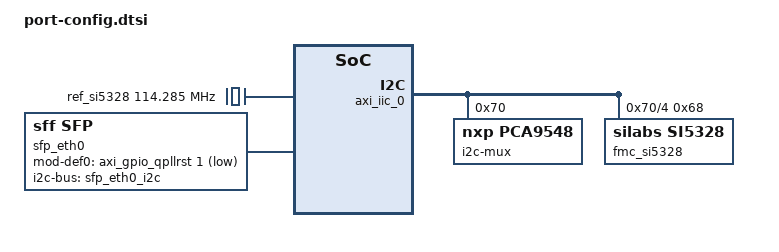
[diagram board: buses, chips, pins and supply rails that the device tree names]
/* Single-port variant of port-config.dtsi for designs that only wire up
 * Quad SFP28 FMC slot 0 to an XXV MAC instance — currently zcu104 and
 * zcu106_hpc1, both of which have ports={0} in Vivado/scripts/build.tcl.
 * Slots 1-3 still exist on the FMC card and have I2C buses behind the
 * pca9548 mux, but no MAC node (xxv_ethernet_0_1/_2/_3) exists in
 * pl.dtsi — referencing those labels here would error the dtc compile
 * with "Label or path xxv_ethernet_0_1 not found".
 *
 * Kept structurally parallel to bsp/ports-0123/.../port-config.dtsi
 * so the four-port version remains the canonical reference. */

/ {
	ref_si5328: ref_si5328 {
	    compatible = "fixed-clock";
	    #clock-cells = <0>;
	    clock-frequency = <114285000>;
	};
};

&axi_iic_0 {
        i2c-mux@70 {
                compatible = "nxp,pca9548";
                #address-cells = <1>;
                #size-cells = <0>;
                reg = <0x70>;
                sfp_eth0_i2c: i2c@0 {
                        #address-cells = <1>;
                        #size-cells = <0>;
                        reg = <0>;
                        /* SFP28 slot 0 */
                };
                /* SFP28 slots 1-3 — buses still exposed by the FMC card,
                 * but no MAC is wired to those cages on this target, so
                 * we don't add sfp-eth1..3 nodes. */
                i2c@1 {
                        #address-cells = <1>;
                        #size-cells = <0>;
                        reg = <1>;
                };
                i2c@2 {
                        #address-cells = <1>;
                        #size-cells = <0>;
                        reg = <2>;
                };
                i2c@3 {
                        #address-cells = <1>;
                        #size-cells = <0>;
                        reg = <3>;
                };
                i2c@4 {
                        #address-cells = <1>;
                        #size-cells = <0>;
                        reg = <4>;
                        fmc_si5328: clock-generator@68 {
                                status = "okay";
                                compatible = "silabs,si5328";
                                reg = <0x68>;
                                #address-cells = <1>;
                                #size-cells = <0>;
                                #clock-cells = <1>;
                                clocks = <&ref_si5328>;
                                clock-names = "xtal";

                                fmc_si5328_clk: clk0@0 {
                                        reg = <0>;
                                        clock-frequency = <156250000>;
                                };
                        };
                };
        };
};

/* SFP cage descriptor for port 0. axi_gpio_qpllrst still exposes 4 input
 * bits on Channel 2 for MOD_ABS — only bit 1 (line index 1, mod_abs[0])
 * is referenced here since that's the only cage with a MAC.
 * Active-low: line LOW = module present. */
/ {
        sfp_eth0: sfp-eth0 {
                compatible = "sff,sfp";
                i2c-bus = <&sfp_eth0_i2c>;
                mod-def0-gpios = <&axi_gpio_qpllrst 1 1>;
                maximum-power-milliwatt = <2000>;
        };
};

/* Port 0 XXV overrides:
 *  - qpllreset-gpios: shared QPLL reset on Channel 1 line 0 of
 *    axi_gpio_qpllrst, pulsed once at first device_reset() by the
 *    patched xilinx_axienet driver. Flag 0 = GPIO_ACTIVE_HIGH.
 *  - sfp: links the MAC to its SFP cage descriptor.
 *  - port 0 already gets MAC 00:0a:35:00:00:01 from the SDT-generated
 *    pl.dtsi, so no local-mac-address override is needed here. */
&xxv_ethernet_0 {
        qpllreset-gpios = <&axi_gpio_qpllrst 0 0>;
        sfp = <&sfp_eth0>;
};
